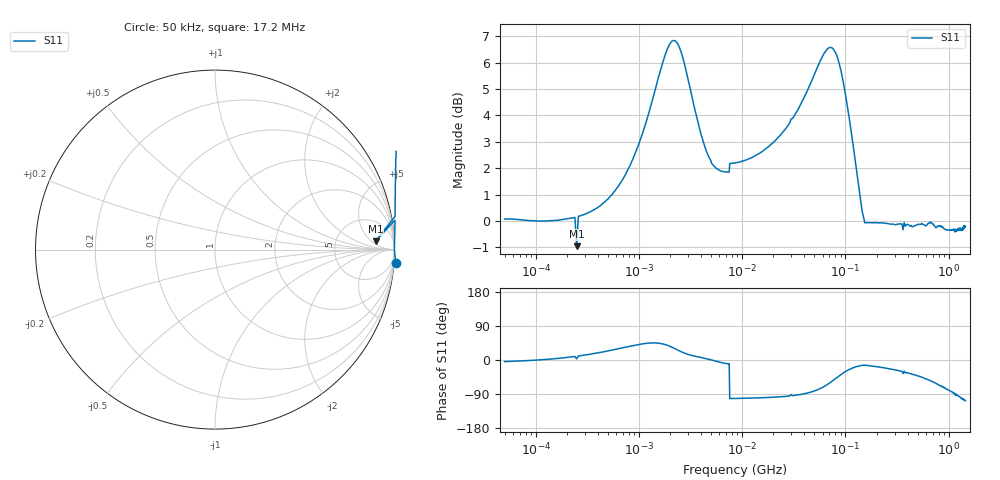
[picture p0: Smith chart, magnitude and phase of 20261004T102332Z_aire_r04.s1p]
! piloto_corto / aire / r04
# HZ S RI R 50
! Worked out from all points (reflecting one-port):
!   501 points, 50 kHz to 1.45 GHz, reference 50 ohm
!   lowest |S11| = -1.0 dB at 249.5 kHz (marker M1), VSWR 18.18, Z = 744 + j350 ohm
!   phase of S11 starts at -4 deg and turns -103 deg over the sweep
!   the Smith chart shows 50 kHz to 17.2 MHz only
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50000  1.006 -0.0738
183000  1.002 0.0972
249500  0.8945 0.0465
658000  1.012 0.604
1180000  1.112 1.074
1720000  1.494 1.348
1990000  1.748 1.28
2440000  1.949 0.8941
3430000  1.618 0.3007
4870000  1.311 0.0276
7300000  1.219 -0.2114
7750000  -0.2614 -1.258
8560000  -0.2565 -1.263
1.81e7  -0.2132 -1.368
3.16e7  -0.1009 -1.574
4.78e7  0.211 -1.844
6.67e7  0.8999 -1.918
7.57e7  1.238 -1.721
8.92e7  1.502 -1.239
9.82e7  1.505 -0.9342
1e8  1.495 -0.8815
1.18e8  1.312 -0.4968
1.36e8  1.102 -0.3089
1.63e8  0.9616 -0.2471
4.06e8  0.8127 -0.5547
6.94e8  0.5356 -0.8311
1.1035e9  0.0631 -0.9605
1.45e9  -0.2941 -0.9299
